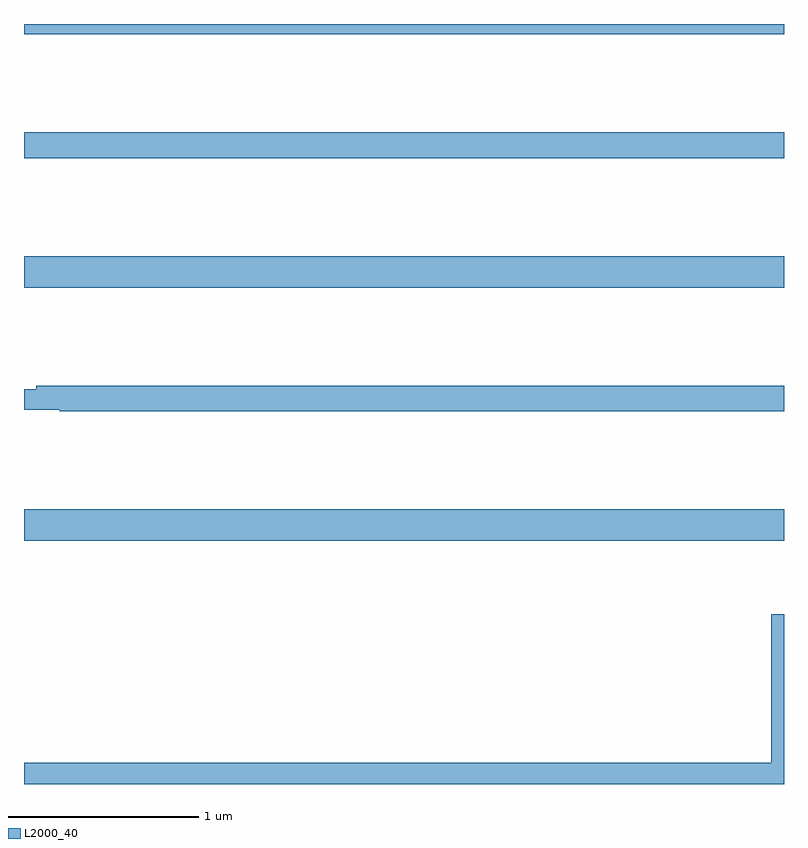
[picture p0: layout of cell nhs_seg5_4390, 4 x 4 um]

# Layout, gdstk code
import gdstk
lib = gdstk.Library(unit=1e-6, precision=1e-09)
def R(c, l, rs):  # rectangles x0, y0, x1, y1
    for r in rs: c.add(gdstk.rectangle(r[:2], r[2:], *l))
def P(c, l, *ps):  # polygons
    for p in ps: c.add(gdstk.Polygon(p, *l))
L2000_40 = (2000, 40)

nhs_seg5_4390 = lib.new_cell('nhs_seg5_4390')
R(nhs_seg5_4390, L2000_40, [(369,870.08,373,870.244), (369,871.412,373,871.576), (369,872.092,373,872.228), (369,872.744,373,872.799)])
P(nhs_seg5_4390, L2000_40, [(373,870.896),(369.064,870.896),(369.064,870.877),(369,870.877),(369,870.768),(369.188,870.768),(369.188,870.76),(373,870.76)],
  [(373,869.692),(372.932,869.692),(372.932,868.912),(369,868.912),(369,868.799),(373,868.799)])

lib.write_gds('nhs_seg5_4390.gds')
